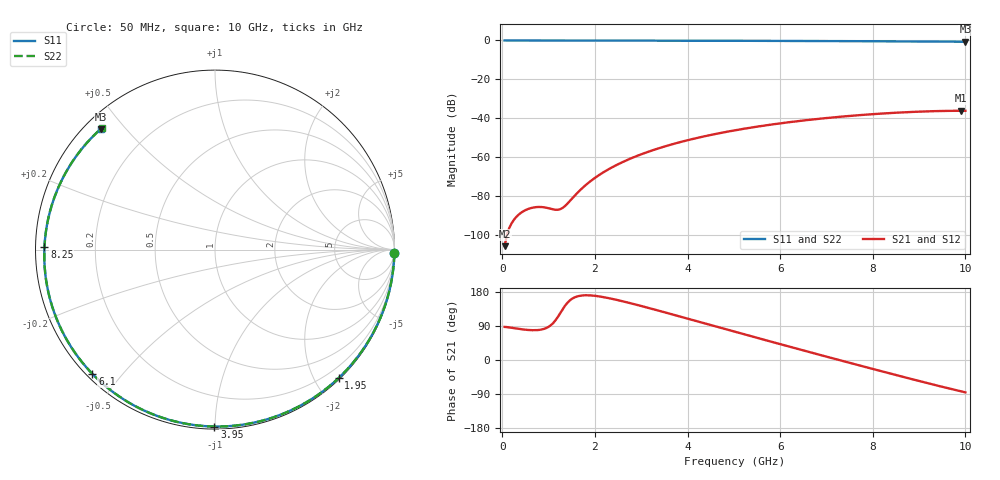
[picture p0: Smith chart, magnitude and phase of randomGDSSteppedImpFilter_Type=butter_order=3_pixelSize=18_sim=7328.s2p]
! freq	dB(S11)	phase(S11)	dB(S12)	phase(S12)
!  dB(S21)	phase(S21)	dB(S22)	phase(S22)
!S-par simulation data
#  GHz  S  DB  R 50
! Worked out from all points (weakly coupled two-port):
!   200 points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, 50 MHz to 10 GHz, reference 50 ohm
!   highest |S21| = -36.19 dB at 9.9 GHz (marker M1); lowest = -105.9 dB at 50 MHz (marker M2)
!   lowest |S11| = -0.7 dB at 10 GHz (marker M3), VSWR 25.97, Z = 2.28 + j21.4 ohm
!   |S11| at or under -10 dB: nowhere
!   |S22| runs from -0.7 to 0.0 dB; largest |S21 - S12| = 0
!   S11 on the Smith chart (normalised r, x): 50 MHz: 2, -94; 1.95 GHz: 0.02, -2.35; 3.95 GHz: 0.01, -1.00; 6.1 GHz: 0.02, -0.42; 8.25 GHz: 0.03, +0.01; 10 GHz: 0.05, +0.43
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0.05  -0.00 -1.2  -105.85 87.3  -105.85 87.3  -0.00 -1.2
0.75  -0.02 -18.0  -85.72 78.9  -85.72 78.9  -0.02 -18.1
1.55  -0.05 -36.9  -80.23 164.5  -80.23 164.5  -0.05 -36.9
1.75  -0.05 -41.5  -75.48 170.6  -75.48 170.6  -0.05 -41.6
1.95  -0.06 -46.1  -71.58 170.0  -71.58 170.0  -0.06 -46.2
2.25  -0.07 -53.0  -66.89 164.4  -66.89 164.4  -0.07 -53.0
2.6  -0.08 -60.8  -62.56 155.0  -62.56 155.0  -0.08 -60.9
3  -0.09 -69.7  -58.59 142.5  -58.59 142.5  -0.09 -69.8
3.4  -0.10 -78.4  -55.32 129.4  -55.32 129.4  -0.10 -78.5
3.95  -0.12 -90.2  -51.64 110.9  -51.64 110.9  -0.12 -90.3
4.5  -0.15 -101.7  -48.63 92.3  -48.63 92.3  -0.15 -101.8
5.05  -0.18 -113.1  -46.12 73.7  -46.12 73.7  -0.18 -113.2
6.1  -0.24 -134.6  -42.35 38.5  -42.35 38.5  -0.24 -134.7
6.7  -0.29 -147.0  -40.66 18.7  -40.66 18.7  -0.29 -147.1
7.5  -0.36 -164.0  -38.84 -7.5  -38.84 -7.5  -0.36 -164.2
8.25  -0.44 179.1  -37.54 -31.6  -37.54 -31.6  -0.44 178.8
8.35  -0.45 176.8  -37.39 -34.8  -37.39 -34.8  -0.46 176.5
8.75  -0.50 167.1  -36.89 -47.5  -36.89 -47.5  -0.50 166.8
9.15  -0.56 157.0  -36.51 -60.0  -36.51 -60.0  -0.56 156.7
9.55  -0.61 146.3  -36.27 -72.2  -36.27 -72.2  -0.61 145.9
9.9  -0.66 136.4  -36.19 -82.5  -36.19 -82.5  -0.66 136.0
10  -0.67 133.5  -36.19 -85.4  -36.19 -85.4  -0.67 133.1
